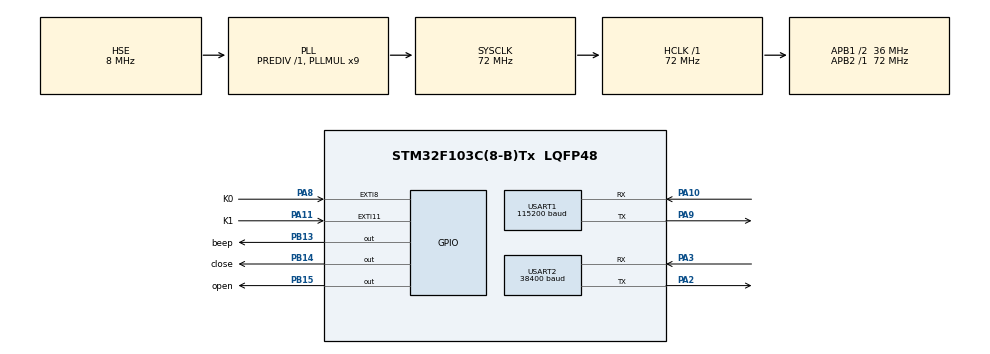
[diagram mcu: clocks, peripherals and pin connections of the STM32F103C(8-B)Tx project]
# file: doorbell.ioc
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Dma.Request0=USART2_RX
Dma.Request1=USART2_TX
Dma.USART2_RX.0.Direction=DMA_PERIPH_TO_MEMORY
Dma.USART2_RX.0.Instance=DMA1_Channel6
Dma.USART2_RX.0.MemDataAlignment=DMA_MDATAALIGN_BYTE
Dma.USART2_RX.0.MemInc=DMA_MINC_ENABLE
Dma.USART2_RX.0.Mode=DMA_NORMAL
Dma.USART2_RX.0.PeriphDataAlignment=DMA_PDATAALIGN_BYTE
Dma.USART2_RX.0.PeriphInc=DMA_PINC_DISABLE
Dma.USART2_RX.0.Priority=DMA_PRIORITY_LOW
Dma.USART2_TX.1.Direction=DMA_MEMORY_TO_PERIPH
Dma.USART2_TX.1.Instance=DMA1_Channel7
Dma.USART2_TX.1.MemDataAlignment=DMA_MDATAALIGN_BYTE
Dma.USART2_TX.1.MemInc=DMA_MINC_ENABLE
Dma.USART2_TX.1.Mode=DMA_NORMAL
Dma.USART2_TX.1.PeriphDataAlignment=DMA_PDATAALIGN_BYTE
Dma.USART2_TX.1.PeriphInc=DMA_PINC_DISABLE
Dma.USART2_TX.1.Priority=DMA_PRIORITY_LOW
Mcu.Family=STM32F1
Mcu.Name=STM32F103C(8-B)Tx
Mcu.Package=LQFP48
NVIC.DMA1_Channel6_IRQn=true\:1\:1\:true\:false\:true\:false\:true\:true
NVIC.DMA1_Channel7_IRQn=true\:1\:1\:true\:false\:true\:false\:true\:true
NVIC.EXTI15_10_IRQn=true\:1\:0\:true\:false\:true\:true\:true\:true
NVIC.EXTI9_5_IRQn=true\:1\:0\:true\:false\:true\:true\:true\:true
NVIC.PriorityGroup=NVIC_PRIORITYGROUP_2
NVIC.TIM2_IRQn=true\:3\:2\:true\:false\:true\:true\:true\:true
NVIC.USART1_IRQn=true\:1\:2\:true\:false\:true\:true\:true\:true
NVIC.USART2_IRQn=true\:1\:3\:true\:false\:true\:true\:true\:true
PA10.Mode=Asynchronous
PA10.Signal=USART1_RX
PA11.GPIO_Label=K1
PA11.GPIO_ModeDefaultEXTI=GPIO_MODE_IT_FALLING
PA11.Signal=GPXTI11
PA2.Mode=Asynchronous
PA2.Signal=USART2_TX
PA3.Mode=Asynchronous
PA3.Signal=USART2_RX
PA8.GPIO_Label=K0
PA8.GPIO_ModeDefaultEXTI=GPIO_MODE_IT_FALLING
PA8.Signal=GPXTI8
PA9.Mode=Asynchronous
PA9.Signal=USART1_TX
PB13.GPIO_Label=beep
PB13.GPIO_Speed=GPIO_SPEED_FREQ_HIGH
PB13.Signal=GPIO_Output
PB14.GPIO_Label=close
PB14.GPIO_Speed=GPIO_SPEED_FREQ_HIGH
PB14.PinState=GPIO_PIN_SET
PB14.Signal=GPIO_Output
PB15.GPIO_Label=open
PB15.GPIO_Speed=GPIO_SPEED_FREQ_HIGH
PB15.PinState=GPIO_PIN_SET
PB15.Signal=GPIO_Output
PD0-OSC_IN.Mode=HSE-External-Oscillator
PD0-OSC_IN.Signal=RCC_OSC_IN
PD1-OSC_OUT.Mode=HSE-External-Oscillator
PD1-OSC_OUT.Signal=RCC_OSC_OUT
ProjectManager.HeapSize=0x200
ProjectManager.StackSize=0x400
ProjectManager.TargetToolchain=MDK-ARM V5.32
RCC.AHBFreq_Value=72000000
RCC.APB1CLKDivider=RCC_HCLK_DIV2
RCC.APB1Freq_Value=36000000
RCC.APB1TimFreq_Value=72000000
RCC.APB2Freq_Value=72000000
RCC.APB2TimFreq_Value=72000000
RCC.HCLKFreq_Value=72000000
RCC.PLLMUL=RCC_PLL_MUL9
RCC.PLLSourceVirtual=RCC_PLLSOURCE_HSE
RCC.SYSCLKFreq_VALUE=72000000
RCC.SYSCLKSource=RCC_SYSCLKSOURCE_PLLCLK
RCC.USBFreq_Value=72000000
TIM2.Period=9999
TIM2.Prescaler=7199
USART1.BaudRate=115200
USART1.VirtualMode=VM_ASYNC
USART2.BaudRate=38400
USART2.VirtualMode=VM_ASYNC
VP_SYS_VS_ND.Mode=No_Debug
VP_TIM2_VS_ClockSourceINT.Mode=Internal
VP_WWDG_VS_WWDG.Mode=WWDG_Activate
board=custom

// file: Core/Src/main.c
/* USER CODE BEGIN Header */
/**
 ******************************************************************************
 * @file           : main.c
 * @brief          : Main program body
 ******************************************************************************
 * @attention
 *
 * Copyright (c) 2023 STMicroelectronics.
 * All rights reserved.
 *
 * This software is licensed under terms that can be found in the LICENSE file
 * in the root directory of this software component.
 * If no LICENSE file comes with this software, it is provided AS-IS.
 * L1快速测量结果(iFACM)：44 3D 31 2E 32 38 36 6D 0D 0A
 * L1停止测量(iHALT)：53 54 4F 50 0D 0A 4F 4B 0D 0A
 * L1单次测量(iSM)：44 3D 31 2E 32 38 37 6D 2C 32 35 34 23 0D 0A
 * L1上电回复：4C 31 2D 56 34 2E 30 2D 28 31 35 6D 29 0D 0A 4F 4B 0D 0A
 ******************************************************************************
 */
/* USER CODE END Header */
#include "main.h"
#include "dma.h"
#include "tim.h"
#include "usart.h"
#include "gpio.h"

/* USER CODE BEGIN Includes */
#include <string.h>
#include <stdio.h>

#define RXBUFFERSIZE 256     //
char RxBuffer[RXBUFFERSIZE]; //
uint8_t aRxBuffer;           //
uint8_t Uart1_Rx_Cnt = 0;    //

#define USART3_MAX_RECV_LEN 256
char USART3_RX_BUF[USART3_MAX_RECV_LEN];
uint8_t Uart2_aRxBuffer; //
// uint8_t seri_count = 0;    //

#define lenth      15

#define R_NUM      20                       // 接收缓冲区个数
#define RBUFF_UNIT 300                      // 接收缓冲区长度
unsigned char MQTT_RxDataBuf[R_NUM][lenth]; // 数据的接收缓冲区,所有服务器发来的数据，存放在该缓冲区,缓冲区第一个字节存放数据长度
unsigned char *MQTT_RxDataInPtr;            // 指向接收缓冲区存放数据的位置
unsigned char *MQTT_RxDataOutPtr;           // 指向接收缓冲区读取数据的位置
unsigned char *MQTT_RxDataEndPtr;           // 指向接收缓冲区结束的位置

char fina_data1[5];
char fina_data2[5];
int finaldata1;
int finaldata2;

int fixed_value          = 0;
unsigned int SystemTimer = 0;
unsigned int OpenTimer   = 0;

uint8_t times = 0;//开门标志位

/* USER CODE END Includes */

void SystemClock_Config(void);

int main(void)
{

    /* MCU Configuration--------------------------------------------------------*/

    /* Reset of all peripherals, Initializes the Flash interface and the Systick. */
    HAL_Init();

    /* Configure the system clock */
    SystemClock_Config();

    /* USER CODE BEGIN SysInit */
    HAL_Delay(200);
    HAL_Delay(200);
    HAL_Delay(200);
    HAL_Delay(200);
    HAL_Delay(200);
    /* USER CODE END SysInit */

    /* Initialize all configured peripherals */
    MX_GPIO_Init();
    MX_DMA_Init();
    MX_USART1_UART_Init();
    MX_USART2_UART_Init();
    MX_TIM2_Init();
    /* USER CODE BEGIN 2 */
    // HAL_TIM_Base_Start_IT(&htim2); // 打开tim2计时器
    HAL_UART_Receive_DMA(&huart2, (uint8_t *)USART3_RX_BUF, lenth);

    MQTT_RxDataInPtr  = MQTT_RxDataBuf[0];         // 指向发送缓冲区存放数据的指针归位
    MQTT_RxDataOutPtr = MQTT_RxDataInPtr;          // 指向发送缓冲区读取数据的指针归位
    MQTT_RxDataEndPtr = MQTT_RxDataBuf[R_NUM - 1]; // 指向发送缓冲区结束的指针归位

    printf("I-n=0x%x", MQTT_RxDataInPtr);

    HAL_UART_Transmit_DMA(&huart2, (uint8_t *)"iACM", 4);
    HAL_Delay(200);
    Data_analysis();
    fixed_value = finaldata1;
    printf("fixed_value=%d\r\n", fixed_value);
    printf("finaldata1=%d\r\n", finaldata1);
    HAL_Delay(500);

    // HAL_Delay(200);

    /* USER CODE END 2 */

    /* Infinite loop */
    while (1) {

        /* USER CODE BEGIN 3 */
        // printf("while\r\n");
        // printf("W_fixed_value=%d\r\n", fixed_value);
        // printf("W_finaldata1=%d\r\n", finaldata1);
        Data_analysis();

        if (fixed_value - finaldata1 > 1000) {
            /* code */

            if (times == 0) {
                /* code */
                printf("开门");
                HAL_GPIO_TogglePin(open_GPIO_Port, open_Pin);
                HAL_Delay(500);
                HAL_GPIO_TogglePin(open_GPIO_Port, open_Pin);
                HAL_TIM_Base_Start_IT(&htim2); // 打开tim2计时器
                times++;
            }else
            {
                printf("有人");
            }

        }
        Open_door();
    }
    /* USER CODE END 3 */
}

void SystemClock_Config(void)
{
    RCC_OscInitTypeDef RCC_OscInitStruct = {0};
    RCC_ClkInitTypeDef RCC_ClkInitStruct = {0};

    /** Initializes the RCC Oscillators according to the specified parameters
     * in the RCC_OscInitTypeDef structure.
     */
    RCC_OscInitStruct.OscillatorType = RCC_OSCILLATORTYPE_HSE;
    RCC_OscInitStruct.HSEState       = RCC_HSE_ON;
    RCC_OscInitStruct.HSEPredivValue = RCC_HSE_PREDIV_DIV1;
    RCC_OscInitStruct.HSIState       = RCC_HSI_ON;
    RCC_OscInitStruct.PLL.PLLState   = RCC_PLL_ON;
    RCC_OscInitStruct.PLL.PLLSource  = RCC_PLLSOURCE_HSE;
    RCC_OscInitStruct.PLL.PLLMUL     = RCC_PLL_MUL9;
    if (HAL_RCC_OscConfig(&RCC_OscInitStruct) != HAL_OK) {
        Error_Handler();
    }

    /** Initializes the CPU, AHB and APB buses clocks
     */
    RCC_ClkInitStruct.ClockType      = RCC_CLOCKTYPE_HCLK | RCC_CLOCKTYPE_SYSCLK | RCC_CLOCKTYPE_PCLK1 | RCC_CLOCKTYPE_PCLK2;
    RCC_ClkInitStruct.SYSCLKSource   = RCC_SYSCLKSOURCE_PLLCLK;
    RCC_ClkInitStruct.AHBCLKDivider  = RCC_SYSCLK_DIV1;
    RCC_ClkInitStruct.APB1CLKDivider = RCC_HCLK_DIV2;
    RCC_ClkInitStruct.APB2CLKDivider = RCC_HCLK_DIV1;

    if (HAL_RCC_ClockConfig(&RCC_ClkInitStruct, FLASH_LATENCY_2) != HAL_OK) {
        Error_Handler();
    }
}

/* USER CODE BEGIN 4 */
// void HAL_GPIO_EXTI_Callback(uint16_t GPIO_Pin)
// {
//     printf("按键中断\r\n");
//     if (GPIO_Pin == K0_Pin) {

//         if (HAL_GPIO_ReadPin(K0_GPIO_Port, K0_Pin) == GPIO_PIN_RESET) {
//             HAL_Delay(20);
//             if (HAL_GPIO_ReadPin(K0_GPIO_Port, K0_Pin) == GPIO_PIN_RESET) {
//                 while (HAL_GPIO_ReadPin(K0_GPIO_Port, K0_Pin) == GPIO_PIN_RESET) {
//                     /* code */
//                     HAL_GPIO_TogglePin(open_GPIO_Port, open_Pin);
//                     HAL_Delay(200);
//                     HAL_GPIO_TogglePin(open_GPIO_Port, open_Pin);

//                     HAL_UART_Transmit(&huart1, (uint8_t *)"数据溢出", 10, 0xFFFF);

//                 }
//             }
//         }
//         __HAL_GPIO_EXTI_CLEAR_IT(K0_EXTI_IRQn);
//     } else if (GPIO_Pin == K1_Pin) {

//         if (HAL_GPIO_ReadPin(K1_GPIO_Port, K1_Pin) == GPIO_PIN_RESET) {
//             HAL_Delay(20);
//             if (HAL_GPIO_ReadPin(K1_GPIO_Port, K1_Pin) == GPIO_PIN_RESET) {
//                 while (HAL_GPIO_ReadPin(K1_GPIO_Port, K1_Pin) == GPIO_PIN_RESET) {
//                     /* code */
//                     HAL_GPIO_TogglePin(beep_GPIO_Port, beep_Pin);
//                     HAL_GPIO_TogglePin(close_GPIO_Port, close_Pin);
//                     HAL_Delay(200);
//                     HAL_GPIO_TogglePin(beep_GPIO_Port, beep_Pin);
//                     HAL_GPIO_TogglePin(close_GPIO_Port, close_Pin);
//                 }
//             }
//         }
//         __HAL_GPIO_EXTI_CLEAR_IT(K1_EXTI_IRQn);
//     }
// }

void HAL_UART_RxCpltCallback(UART_HandleTypeDef *huart)
{

    /* Prevent unused argument(s) compilation warning */
    UNUSED(huart);
    /* NOTE: This function Should not be modified, when the callback is needed,
             the HAL_UART_TxCpltCallback could be implemented in the user file
     */
    if (huart->Instance == USART1) {
        char a[] = "distance_saze";
        if (Uart1_Rx_Cnt >= 255) // 溢出判断
        {
            Uart1_Rx_Cnt = 0;
            memset(RxBuffer, 0x00, sizeof(RxBuffer));
            HAL_UART_Transmit(&huart1, (uint8_t *)a, strlen(a), 0xFFFF);
        } else {
            RxBuffer[Uart1_Rx_Cnt++] = aRxBuffer;

            if ((RxBuffer[Uart1_Rx_Cnt - 1] == 0x0A) && (RxBuffer[Uart1_Rx_Cnt - 2] == 0x0D)) // 判断结束?????????
            {
                HAL_UART_Transmit(&huart1, (uint8_t *)&RxBuffer, Uart1_Rx_Cnt, 0xFFFF); // 将收到的信息发???出?????????
                while (HAL_UART_GetState(&huart1) == HAL_UART_STATE_BUSY_TX)
                    ;
                Uart1_Rx_Cnt = 0;
                memset(RxBuffer, 0x00, sizeof(RxBuffer)); // 清空数组
            }
        }
        HAL_UART_Receive_IT(&huart1, (uint8_t *)&aRxBuffer, 1); // 再开?????????接收??????????????????
    }
    if (huart->Instance == USART2) {
        /* code */
        // for (size_t i = 0; i < lenth; i++) {
        //     /* code */
        //     printf("%c", USART3_RX_BUF[i]);
        // }
        memcpy(MQTT_RxDataInPtr, USART3_RX_BUF, lenth);
        MQTT_RxDataInPtr += lenth;                 // 指针下移
        if (MQTT_RxDataInPtr == MQTT_RxDataEndPtr) // 如果指针到缓冲区尾部了
            MQTT_RxDataInPtr = MQTT_RxDataBuf[0];  // 指针归位到缓冲区开头
        // memset(USART3_RX_BUF, 0, lenth);
        HAL_UART_Receive_DMA(&huart2, (uint8_t *)USART3_RX_BUF, lenth);
    }
}
void HAL_TIM_PeriodElapsedCallback(TIM_HandleTypeDef *htim)
{
    // static unsigned char ledState = 0;
    if (htim == (&htim2)) {
        SystemTimer++;
        printf("SystemTimer=%d\r\n", SystemTimer);
        if (SystemTimer >= 121) {
            /* code */
            SystemTimer = 0;
            OpenTimer   = 0;
        }
    }
}
void Open_door(void)
{
    if (SystemTimer - OpenTimer >= 30) {
        /* code */
        OpenTimer = SystemTimer;
        HAL_GPIO_TogglePin(close_GPIO_Port, close_Pin);
        HAL_Delay(500);
        HAL_GPIO_TogglePin(close_GPIO_Port, close_Pin);
        // HAL_UART_DMAResume(&huart2);
        times = 0;
        HAL_TIM_Base_Stop_IT(&htim2);
        printf("关门");
        // NVIC_SystemReset();
    }
}
void Data_analysis(void)
{
    char check_flag, end_flag, j = 0, k = 0;
    uint8_t x;
    if (MQTT_RxDataInPtr != MQTT_RxDataOutPtr) {
        /* code */
        // printf("数据解析\r\n");
        for (size_t i = 0; i < lenth; i++) {
            /* code */
            // printf("%x ", MQTT_RxDataOutPtr[i]);
            switch (MQTT_RxDataOutPtr[i]) {
                case 0x6D:
                    check_flag = i;
                    // printf("0x6D在第%d位", check_flag);
                    break;
                case 0x23:
                    end_flag = i;
                    // printf("0x0D在第%d位", end_flag);
                    break;
                default:
                    break;
            }
        }
        for (size_t i = 2; i < check_flag; i++) {

            if (MQTT_RxDataOutPtr[i] == 0x2E) {
                continue;
            }
            fina_data1[j++] = MQTT_RxDataOutPtr[i];
        }
        for (size_t a = check_flag + 1; a < end_flag; a++) {

            if (MQTT_RxDataOutPtr[a] == 0x2C) {
                continue;
            }
            fina_data2[k++] = MQTT_RxDataOutPtr[a];
        }

        sscanf(fina_data1, "%d", &finaldata1); // 字符串转int
        sscanf(fina_data2, "%d", &finaldata2); // 字符串转int

        // printf("距离值=%dmm,回光量=%d\r\n", finaldata1, finaldata2); // print用串口2，串口1用来和激光模块通讯
        /* code */
        for (x = 0; x < j; x++) {
            fina_data1[x] = 0;
            fina_data2[x] = 0;
        }
        MQTT_RxDataOutPtr += lenth;                 // 接收指针下移
        if (MQTT_RxDataOutPtr == MQTT_RxDataEndPtr) // 如果接收指针到接收缓冲区尾部了
            MQTT_RxDataOutPtr = MQTT_RxDataBuf[0];  // 接收指针归位到接收缓冲区开头
    }
}
/**
 * 函数功能: 重定向c库函数printf到DEBUG_USARTx
 * 输入参数: 无
 * 返 回 值: 无
 * 说    明：无
 */
int fputc(int ch, FILE *f)
{
    HAL_UART_Transmit(&huart1, (uint8_t *)&ch, 1, 0xffff);
    return ch;
}
/**
 * 函数功能: 重定向c库函数getchar,scanf到DEBUG_USARTx
 * 输入参数: 无
 * 返 回 值: 无
 * 说    明：无
 */
int fgetc(FILE *f)
{
    uint8_t ch = 0;
    HAL_UART_Receive(&huart1, &ch, 1, 0xffff);
    return ch;
}
/* USER CODE END 4 */

void Error_Handler(void)
{
    __disable_irq();
    while (1) {
    }
}
